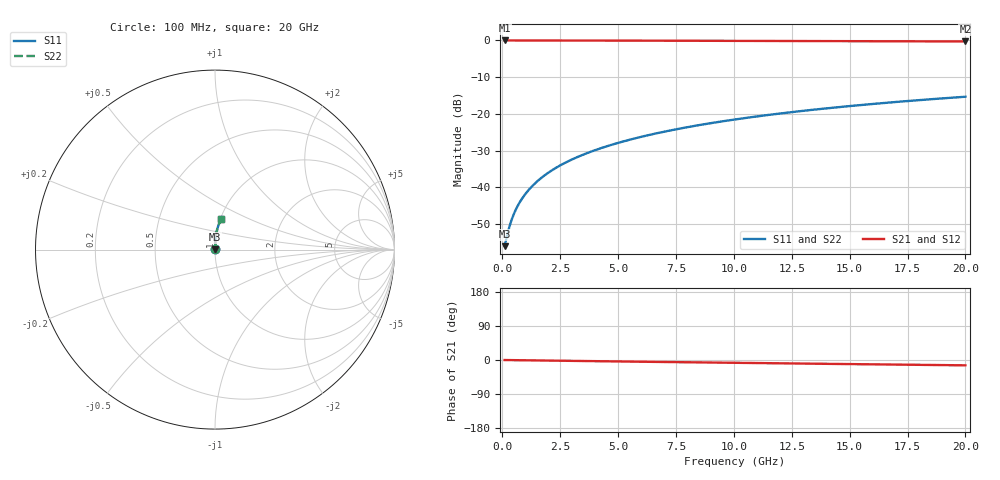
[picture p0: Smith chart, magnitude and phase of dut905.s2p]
! Touchstone file exported from HFSS 2024.1.0
!  File:  C:/UserFiles/LocalFiles/RDL_TSV_Batchsim/temp_RDL_bottom_905_1779940198.aedt
!  Generated:  11:52:37 AM May 28, 2026
!  Design:  RDL_bottom
!  Project:  temp_RDL_bottom_905_1779940198
!  Setup:  Setup1
!  Solution:  Sweep
! Variables:
!  dtsv = 10.80580581um
!  hbump = 3um
!  htsv = 84.18um
!  ldown = 151.8um
!  lrdl = 100um
!  p = 40
!  p1 = 49.05um
!  rhole = 1um
!  t = 450um
!  tdown = 2.67um
!  trdl = 3.915915916um
!  wdown = 19.3um
!  wrdl = 20um
# GHz S MA R 50.000000
! Terminal data exported
! Port[1] = RDL1_T1
! Port[2] = RDL1_T2
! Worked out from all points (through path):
!   200 points, 100 MHz to 20 GHz, reference 50 ohm
!   highest |S21| = -0.01 dB at 100 MHz (marker M1); lowest = -0.3 dB at 20 GHz (marker M2)
!   group delay of S21, straight-line fit = 1.94 ps
!   lowest |S11| = -56.0 dB at 100 MHz (marker M3), VSWR 1.00, Z = 50.1 + j0.0843 ohm
!   |S11| at or under -10 dB: start of sweep to end of sweep
!   |S22| runs from -56.0 to -15.3 dB; largest |S21 - S12| = 3.1e-15
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0.1  0.001577 32.2  0.9987 -0.1  0.9987 -0.1  0.001577 32.2
! Gamma 0 0 0 0
! Port Impedance 50 0 50 0
0.2  0.002156 50.8  0.9986 -0.2  0.9986 -0.2  0.002156 50.8
0.3  0.002853 60.7  0.9986 -0.2  0.9986 -0.2  0.002853 60.7
0.4  0.003589 66.4  0.9985 -0.3  0.9985 -0.3  0.003589 66.4
0.5  0.004337 70.2  0.9985 -0.4  0.9985 -0.4  0.004337 70.2
0.6  0.00509 72.9  0.9984 -0.5  0.9984 -0.5  0.00509 72.9
0.8  0.006604 76.5  0.9983 -0.6  0.9983 -0.6  0.006604 76.5
1.1  0.008895 79.8  0.9982 -0.9  0.9982 -0.9  0.008895 79.8
1.3  0.01043 81.2  0.9981 -1.0  0.9981 -1.0  0.01043 81.2
1.6  0.01276 82.8  0.9979 -1.3  0.9979 -1.3  0.01276 82.8
2.1  0.01668 84.5  0.9976 -1.6  0.9976 -1.6  0.01668 84.5
2.7  0.02143 85.7  0.997 -2.1  0.997 -2.1  0.02143 85.7
3.5  0.02786 86.6  0.9962 -2.7  0.9962 -2.7  0.02787 86.6
4.2  0.03358 87.1  0.9954 -3.2  0.9954 -3.2  0.03358 87.1
5  0.04021 87.4  0.9943 -3.8  0.9943 -3.8  0.04021 87.4
5.9  0.04779 87.4  0.993 -4.5  0.993 -4.5  0.04779 87.4
6.8  0.05548 87.3  0.9915 -5.1  0.9915 -5.1  0.05548 87.3
8.4  0.06937 86.8  0.9889 -6.3  0.9889 -6.3  0.06937 86.8
10.1  0.08432 85.9  0.9859 -7.5  0.9859 -7.5  0.08432 85.9
13.4  0.1135 83.8  0.9799 -9.7  0.9799 -9.7  0.1135 83.8
16.7  0.1425 81.4  0.9738 -11.9  0.9738 -11.9  0.1425 81.4
20  0.1709 79.0  0.9674 -14.1  0.9674 -14.1  0.1709 79.0
